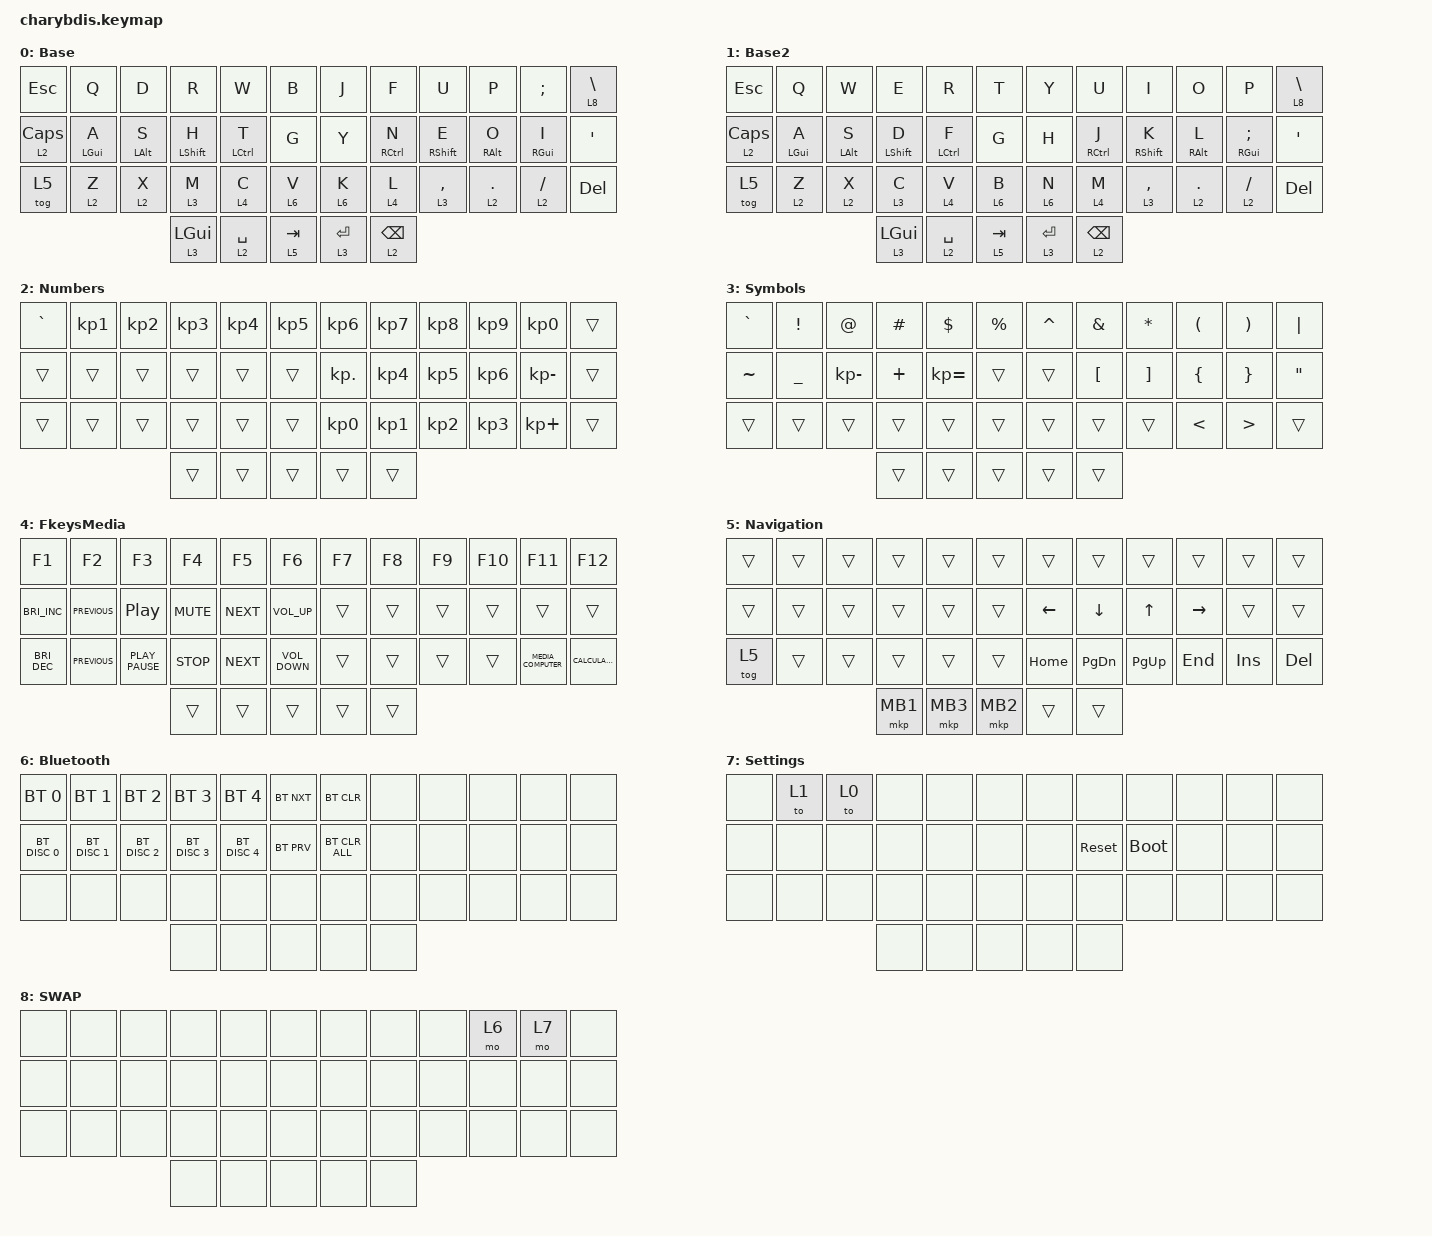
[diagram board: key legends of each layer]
#include <dt-bindings/zmk/mouse.h>
#include <behaviors/mouse_keys.dtsi>
#include <behaviors.dtsi>
#include <dt-bindings/zmk/bt.h>
#include <dt-bindings/zmk/keys.h>
#include <dt-bindings/zmk/pointing.h>

&lt {
    tapping-term-ms = <240>;
    flavor = "balanced";
    quick-tap-ms = <150>;
};

/ {
    keymap {
        compatible = "zmk,keymap";

        WORKMAN {
            label = "Base";
            bindings = <
&kp ESCAPE      &kp Q           &kp D           &kp R             &kp W               &kp B        &kp J        &kp F                &kp U              &kp P            &kp SEMICOLON    &lt 8 BACKSLASH
&lt 2 CAPSLOCK  &mt LEFT_GUI A  &mt LEFT_ALT S  &mt LEFT_SHIFT H  &mt LEFT_CONTROL T  &kp G        &kp Y        &mt RIGHT_CONTROL N  &mt RIGHT_SHIFT E  &mt RIGHT_ALT O  &mt RIGHT_GUI I  &kp APOSTROPHE
&tog 5          &lt 2 Z         &lt 2 X         &lt 3 M           &lt 4 C             &lt 6 V      &lt 6 K      &lt 4 L              &lt 3 COMMA        &lt 2 DOT        &lt 2 SLASH      &kp DELETE
                                                &lt 3 LEFT_GUI    &lt 2 SPACE         &lt 5 TAB    &lt 3 ENTER  &lt 2 BACKSPACE
            >;
        };

        QWERTY {
            label = "Base2";
            bindings = <
&kp ESCAPE      &kp Q           &kp W           &kp E             &kp R               &kp T        &kp Y        &kp U                &kp I              &kp O            &kp P                    &lt 8 BACKSLASH
&lt 2 CAPSLOCK  &mt LEFT_GUI A  &mt LEFT_ALT S  &mt LEFT_SHIFT D  &mt LEFT_CONTROL F  &kp G        &kp H        &mt RIGHT_CONTROL J  &mt RIGHT_SHIFT K  &mt RIGHT_ALT L  &mt RIGHT_GUI SEMICOLON  &kp APOSTROPHE
&tog 5          &lt 2 Z         &lt 2 X         &lt 3 C           &lt 4 V             &lt 6 B      &lt 6 N      &lt 4 M              &lt 3 COMMA        &lt 2 DOT        &lt 2 SLASH              &kp DELETE
                                                &lt 3 LEFT_GUI    &lt 2 SPACE         &lt 5 TAB    &lt 3 ENTER  &lt 2 BACKSPACE
            >;
        };

        Numbers {
            label = "Numbers";
            bindings = <
&kp GRAVE  &kp KP_NUMBER_1  &kp KP_NUMBER_2  &kp KP_NUMBER_3  &kp KP_NUMBER_4  &kp KP_NUMBER_5    &kp KP_NUMBER_6  &kp KP_NUMBER_7  &kp KP_NUMBER_8  &kp KP_NUMBER_9  &kp KP_NUMBER_0  &trans
&trans     &trans           &trans           &trans           &trans           &trans             &kp KP_DOT       &kp KP_NUMBER_4  &kp KP_NUMBER_5  &kp KP_NUMBER_6  &kp KP_MINUS     &trans
&trans     &trans           &trans           &trans           &trans           &trans             &kp KP_NUMBER_0  &kp KP_NUMBER_1  &kp KP_NUMBER_2  &kp KP_NUMBER_3  &kp KP_PLUS      &trans
                                             &trans           &trans           &trans             &trans           &trans
            >;
        };

        Symbols {
            label = "Symbols";
            bindings = <
&kp GRAVE  &kp EXCL        &kp AT        &kp HASH  &kp DLLR      &kp PRCNT    &kp CARET  &kp AMPS          &kp ASTERISK       &kp LPAR        &kp RPAR          &kp PIPE
&kp TILDE  &kp UNDERSCORE  &kp KP_MINUS  &kp PLUS  &kp KP_EQUAL  &trans       &trans     &kp LEFT_BRACKET  &kp RIGHT_BRACKET  &kp LEFT_BRACE  &kp RIGHT_BRACE   &kp DOUBLE_QUOTES
&trans     &trans          &trans        &trans    &trans        &trans       &trans     &trans            &trans             &kp LESS_THAN   &kp GREATER_THAN  &trans
                                         &trans    &trans        &trans       &trans     &trans
            >;
        };

        FkeysMedia {
            label = "FkeysMedia";
            bindings = <
&kp F1                &kp F2          &kp F3            &kp F4      &kp F5      &kp F6               &kp F7  &kp F8  &kp F9  &kp F10  &kp F11               &kp F12
&kp C_BRIGHTNESS_INC  &kp C_PREVIOUS  &kp C_PLAY_PAUSE  &kp K_MUTE  &kp C_NEXT  &kp C_VOLUME_UP      &trans  &trans  &trans  &trans   &trans                &trans
&kp C_BRIGHTNESS_DEC  &kp K_PREVIOUS  &kp K_PLAY_PAUSE  &kp K_STOP  &kp K_NEXT  &kp C_VOLUME_DOWN    &trans  &trans  &trans  &trans   &kp C_MEDIA_COMPUTER  &kp K_CALCULATOR
                                                        &trans      &trans      &trans               &trans  &trans
            >;
        };

        Navigation {
            bindings = <
&trans  &trans  &trans  &trans    &trans    &trans      &trans          &trans          &trans        &trans           &trans      &trans
&trans  &trans  &trans  &trans    &trans    &trans      &kp LEFT_ARROW  &kp DOWN_ARROW  &kp UP_ARROW  &kp RIGHT_ARROW  &trans      &trans
&tog 5  &trans  &trans  &trans    &trans    &trans      &kp HOME        &kp PAGE_DOWN   &kp PAGE_UP   &kp END          &kp INSERT  &kp DELETE
                        &mkp MB1  &mkp MB3  &mkp MB2    &trans          &trans
            >;
        };

        Bluetooth {
            bindings = <
&bt BT_SEL 0   &bt BT_SEL 1   &bt BT_SEL 2   &bt BT_SEL 3   &bt BT_SEL 4   &bt BT_NXT    &bt BT_CLR      &none  &none  &none  &none  &none
&bt BT_DISC 0  &bt BT_DISC 1  &bt BT_DISC 2  &bt BT_DISC 3  &bt BT_DISC 4  &bt BT_PRV    &bt BT_CLR_ALL  &none  &none  &none  &none  &none
&none          &none          &none          &none          &none          &none         &none           &none  &none  &none  &none  &none
                                             &none          &none          &none         &none           &none
            >;
        };

        Settings {
            bindings = <
&none  &to 1  &to 0  &none  &none  &none    &none  &none       &none        &none  &none  &none
&none  &none  &none  &none  &none  &none    &none  &sys_reset  &bootloader  &none  &none  &none
&none  &none  &none  &none  &none  &none    &none  &none       &none        &none  &none  &none
                     &none  &none  &none    &none  &none
            >;
        };

        SWAP {
            bindings = <
&none  &none  &none  &none  &none  &none    &none  &none  &none  &mo 6  &mo 7  &none
&none  &none  &none  &none  &none  &none    &none  &none  &none  &none  &none  &none
&none  &none  &none  &none  &none  &none    &none  &none  &none  &none  &none  &none
                     &none  &none  &none    &none  &none
            >;
        };
    };
};
